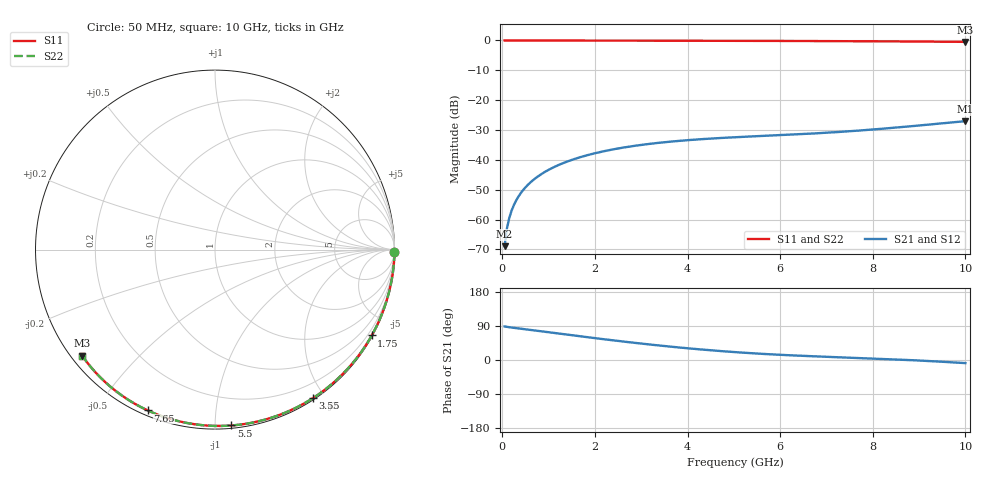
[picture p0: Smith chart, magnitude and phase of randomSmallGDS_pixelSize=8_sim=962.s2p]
! freq	dB(S11)	phase(S11)	dB(S12)	phase(S12)
!  dB(S21)	phase(S21)	dB(S22)	phase(S22)
!S-par simulation data
#  GHz  S  DB  R 50
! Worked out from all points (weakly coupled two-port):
!   200 points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, 50 MHz to 10 GHz, reference 50 ohm
!   highest |S21| = -27.03 dB at 10 GHz (marker M1); lowest = -68.9 dB at 50 MHz (marker M2)
!   lowest |S11| = -0.5 dB at 10 GHz (marker M3), VSWR 36.95, Z = 1.52 - j17.5 ohm
!   |S11| at or under -10 dB: nowhere
!   |S22| runs from -0.5 to 0.0 dB; largest |S21 - S12| = 0
!   S11 on the Smith chart (normalised r, x): 50 MHz: open; 1.75 GHz: 0.03, -3.91; 3.55 GHz: 0.02, -1.85; 5.5 GHz: 0.02, -1.10; 7.65 GHz: 0.02, -0.67; 10 GHz: 0.03, -0.35
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0.05  -0.00 -0.8  -68.92 88.5  -68.92 88.5  -0.00 -0.8
0.1  -0.00 -1.7  -62.97 87.4  -62.97 87.4  -0.00 -1.7
0.15  -0.00 -2.5  -59.51 86.5  -59.51 86.5  -0.00 -2.5
0.2  -0.00 -3.3  -57.06 85.7  -57.06 85.7  -0.00 -3.3
0.25  -0.00 -4.2  -55.16 84.9  -55.16 84.9  -0.00 -4.2
0.35  -0.00 -5.8  -52.28 83.5  -52.28 83.5  -0.00 -5.8
0.5  -0.01 -8.3  -49.22 81.2  -49.22 81.2  -0.01 -8.3
0.7  -0.01 -11.6  -46.35 78.0  -46.35 78.0  -0.01 -11.6
1  -0.02 -16.6  -43.34 73.3  -43.34 73.3  -0.02 -16.6
1.35  -0.03 -22.3  -40.87 67.7  -40.87 67.7  -0.03 -22.3
1.75  -0.04 -28.7  -38.81 61.5  -38.81 61.5  -0.04 -28.7
2.5  -0.05 -40.6  -36.19 50.3  -36.19 50.3  -0.05 -40.6
3.4  -0.07 -54.5  -34.26 38.1  -34.26 38.1  -0.07 -54.5
3.55  -0.08 -56.7  -34.02 36.3  -34.02 36.3  -0.08 -56.7
4.3  -0.10 -67.8  -33.07 27.7  -33.07 27.7  -0.10 -67.8
5.05  -0.12 -78.5  -32.40 20.6  -32.40 20.6  -0.12 -78.5
5.5  -0.14 -84.7  -32.07 17.0  -32.07 17.0  -0.14 -84.7
6.7  -0.19 -100.6  -31.18 9.9  -31.18 9.9  -0.19 -100.6
7.65  -0.25 -112.7  -30.25 5.6  -30.25 5.6  -0.25 -112.7
8.35  -0.31 -121.4  -29.39 2.3  -29.39 2.3  -0.31 -121.4
9.2  -0.38 -131.7  -28.21 -2.6  -28.21 -2.6  -0.38 -131.8
10  -0.47 -141.4  -27.03 -8.2  -27.03 -8.2  -0.47 -141.4
